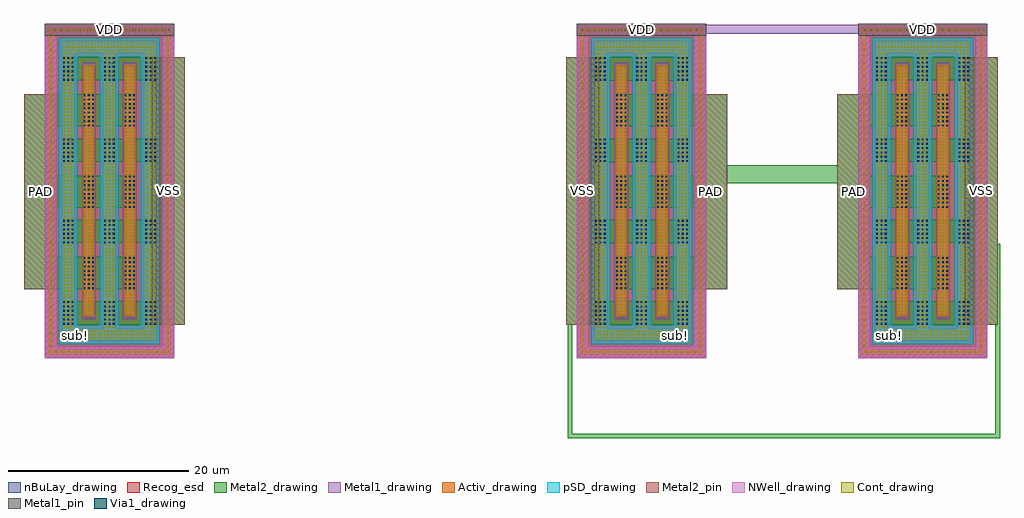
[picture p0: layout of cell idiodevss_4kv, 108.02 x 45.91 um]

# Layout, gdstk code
import gdstk
lib = gdstk.Library(unit=1e-6, precision=1e-09)
def R(c, l, rs):  # rectangles x0, y0, x1, y1
    for r in rs: c.add(gdstk.rectangle(r[:2], r[2:], *l))
def A(c, l, x, y, w, h, nx, ny, dx, dy):  # array of equal rectangles
    R(c, l, [(x+i*dx, y+j*dy, x+i*dx+w, y+j*dy+h) for i in range(nx) for j in range(ny)])
def P(c, l, *ps):  # polygons
    for p in ps: c.add(gdstk.Polygon(p, *l))
Activ_drawing = (1, 0)
Cont_drawing = (6, 0)
Metal1_drawing = (8, 0)
Metal1_pin = (8, 2)
Metal2_drawing = (10, 0)
Metal2_pin = (10, 2)
pSD_drawing = (14, 0)
Via1_drawing = (19, 0)
NWell_drawing = (31, 0)
nBuLay_drawing = (32, 0)
Recog_esd = (99, 30)

idiodevss_4kv = lib.new_cell('idiodevss_4kv')
R(idiodevss_4kv, Activ_drawing, [(4.23,4.65,5.49,32.43), (8.76,4.65,10.02,32.43), (63.167,4.65,64.427,32.43), (67.697,4.65,68.957,32.43), (94.23,4.65,95.49,32.43), (98.76,4.65,100.02,32.43)])
P(idiodevss_4kv, Activ_drawing, [(60.877,1.98),(60.877,35.07),(71.207,35.07),(71.207,3.24),(69.947,3.24),(69.947,33.81),(66.677,33.81),(66.677,3.24),(65.417,3.24),(65.417,33.81),(62.137,33.81),(62.137,3.24),(71.207,3.24),(71.207,1.98)],
  [(59.287,0.45),(59.287,36.6),(72.767,36.6),(72.767,0.93),(72.287,0.93),(72.287,36.12),(59.767,36.12),(59.767,0.93),(72.767,0.93),(72.767,0.45)],
  [(91.98,1.98),(91.98,3.24),(101.05,3.24),(101.05,33.81),(97.77,33.81),(97.77,3.24),(96.51,3.24),(96.51,33.81),(93.24,33.81),(93.24,3.24),(91.98,3.24),(91.98,35.07),(102.31,35.07),(102.31,1.98)],
  [(90.42,0.45),(90.42,0.93),(103.42,0.93),(103.42,36.12),(90.9,36.12),(90.9,0.93),(90.42,0.93),(90.42,36.6),(103.9,36.6),(103.9,0.45)],
  [(1.98,1.98),(1.98,3.24),(11.05,3.24),(11.05,33.81),(7.77,33.81),(7.77,3.24),(6.51,3.24),(6.51,33.81),(3.24,33.81),(3.24,3.24),(1.98,3.24),(1.98,35.07),(12.31,35.07),(12.31,1.98)],
  [(0.42,0.45),(0.42,0.93),(13.42,0.93),(13.42,36.12),(0.9,36.12),(0.9,0.93),(0.42,0.93),(0.42,36.6),(13.9,36.6),(13.9,0.45)])
A(idiodevss_4kv, Cont_drawing, 0.62, 0.61, 0.16, 0.16, 37, 2, 0.36, 35.67)
A(idiodevss_4kv, Cont_drawing, 59.447, 0.61, 0.16, 0.16, 37, 2, 0.36, 35.67)
A(idiodevss_4kv, Cont_drawing, 90.62, 0.61, 0.16, 0.16, 37, 2, 0.36, 35.67)
A(idiodevss_4kv, Cont_drawing, 0.58, 1.105, 0.16, 0.16, 1, 97, 0, 0.36)
A(idiodevss_4kv, Cont_drawing, 13.54, 1.105, 0.16, 0.16, 1, 97, 0, 0.36)
A(idiodevss_4kv, Cont_drawing, 59.487, 1.105, 0.16, 0.16, 1, 97, 0, 0.36)
A(idiodevss_4kv, Cont_drawing, 72.447, 1.105, 0.16, 0.16, 1, 97, 0, 0.36)
A(idiodevss_4kv, Cont_drawing, 90.58, 1.105, 0.16, 0.16, 1, 97, 0, 0.36)
A(idiodevss_4kv, Cont_drawing, 103.54, 1.105, 0.16, 0.16, 1, 97, 0, 0.36)
A(idiodevss_4kv, Cont_drawing, 2.235, 2.19, 0.16, 0.16, 28, 3, 0.36, 0.36)
A(idiodevss_4kv, Cont_drawing, 61.072, 2.19, 0.16, 0.16, 28, 3, 0.36, 0.36)
A(idiodevss_4kv, Cont_drawing, 92.235, 2.19, 0.16, 0.16, 28, 3, 0.36, 0.36)
A(idiodevss_4kv, Cont_drawing, 2.165, 3.405, 0.16, 0.16, 3, 85, 0.36, 0.36)
A(idiodevss_4kv, Cont_drawing, 6.725, 3.405, 0.16, 0.16, 3, 85, 0.36, 0.36)
A(idiodevss_4kv, Cont_drawing, 11.285, 3.405, 0.16, 0.16, 3, 85, 0.36, 0.36)
A(idiodevss_4kv, Cont_drawing, 61.022, 3.405, 0.16, 0.16, 3, 85, 0.36, 0.36)
A(idiodevss_4kv, Cont_drawing, 65.582, 3.405, 0.16, 0.16, 3, 85, 0.36, 0.36)
A(idiodevss_4kv, Cont_drawing, 70.142, 3.405, 0.16, 0.16, 3, 85, 0.36, 0.36)
A(idiodevss_4kv, Cont_drawing, 92.165, 3.405, 0.16, 0.16, 3, 85, 0.36, 0.36)
A(idiodevss_4kv, Cont_drawing, 96.725, 3.405, 0.16, 0.16, 3, 85, 0.36, 0.36)
A(idiodevss_4kv, Cont_drawing, 101.285, 3.405, 0.16, 0.16, 3, 85, 0.36, 0.36)
A(idiodevss_4kv, Cont_drawing, 4.44, 4.81, 0.16, 0.16, 3, 77, 0.36, 0.36)
A(idiodevss_4kv, Cont_drawing, 8.97, 4.81, 0.16, 0.16, 3, 77, 0.36, 0.36)
A(idiodevss_4kv, Cont_drawing, 63.337, 4.81, 0.16, 0.16, 3, 77, 0.36, 0.36)
A(idiodevss_4kv, Cont_drawing, 67.867, 4.81, 0.16, 0.16, 3, 77, 0.36, 0.36)
A(idiodevss_4kv, Cont_drawing, 94.44, 4.81, 0.16, 0.16, 3, 77, 0.36, 0.36)
A(idiodevss_4kv, Cont_drawing, 98.97, 4.81, 0.16, 0.16, 3, 77, 0.36, 0.36)
A(idiodevss_4kv, Cont_drawing, 2.235, 34.02, 0.16, 0.16, 28, 3, 0.36, 0.36)
A(idiodevss_4kv, Cont_drawing, 61.072, 34.02, 0.16, 0.16, 28, 3, 0.36, 0.36)
A(idiodevss_4kv, Cont_drawing, 92.235, 34.02, 0.16, 0.16, 28, 3, 0.36, 0.36)
R(idiodevss_4kv, Metal1_drawing, [(4.11,4.35,5.64,32.7), (8.64,4.35,10.17,32.7), (63.017,4.35,64.547,32.7), (67.547,4.35,69.077,32.7), (94.11,4.35,95.64,32.7), (98.64,4.35,100.17,32.7)])
P(idiodevss_4kv, Metal1_drawing, [(60.727,1.89),(60.727,35.16),(71.357,35.16),(71.357,3.3),(69.827,3.3),(69.827,33.75),(66.827,33.75),(66.827,3.3),(65.267,3.3),(65.267,33.75),(62.287,33.75),(62.287,3.3),(71.357,3.3),(71.357,1.89)],
  [(58.867,0),(58.867,37.05),(73.187,37.05),(73.187,1.35),(71.837,1.35),(71.837,35.7),(60.187,35.7),(60.187,1.35),(73.187,1.35),(73.187,0)],
  [(91.83,1.89),(91.83,3.3),(100.9,3.3),(100.9,33.75),(97.92,33.75),(97.92,3.3),(96.36,3.3),(96.36,33.75),(93.36,33.75),(93.36,3.3),(91.83,3.3),(91.83,35.16),(102.46,35.16),(102.46,1.89)],
  [(90,0),(90,1.35),(103,1.35),(103,35.7),(91.35,35.7),(91.35,1.35),(90,1.35),(90,37.05),(104.32,37.05),(104.32,0)],
  [(1.83,1.89),(1.83,3.3),(10.9,3.3),(10.9,33.75),(7.92,33.75),(7.92,3.3),(6.36,3.3),(6.36,33.75),(3.36,33.75),(3.36,3.3),(1.83,3.3),(1.83,35.16),(12.46,35.16),(12.46,1.89)],
  [(0,0),(0,1.35),(13,1.35),(13,35.7),(1.35,35.7),(1.35,1.35),(0,1.35),(0,37.05),(14.32,37.05),(14.32,0)])
R(idiodevss_4kv, Metal1_pin, [(0,35.7,14.32,37.05), (58.867,35.7,73.187,37.05), (90,35.7,104.32,37.05)])
P(idiodevss_4kv, Metal2_drawing, [(57.727,3.72),(57.727,33.33),(70.727,33.33),(70.727,33.325),(71.227,33.325),(71.227,30.725),(70.727,30.725),(70.727,30.72),(61.367,30.72),(61.367,24.33),(70.727,24.33),(70.727,24.325),(71.227,24.325),(71.227,21.725),(70.727,21.725),(70.727,21.72),(61.367,21.72),(61.367,15.33),(70.727,15.33),(70.727,15.325),(71.227,15.325),(71.227,12.725),(70.727,12.725),(70.727,12.72),(61.367,12.72),(61.367,6.33),(70.727,6.33),(70.727,6.325),(71.227,6.325),(71.227,3.725),(70.727,3.725),(70.727,3.72)],
  [(63.172,7.66),(63.172,11.22),(71.892,11.22),(71.892,16.66),(63.172,16.66),(63.172,20.22),(71.892,20.22),(71.892,25.66),(63.172,25.66),(63.172,29.22),(75.497,29.22),(75.497,7.66)],
  [(92.46,3.72),(92.46,3.725),(91.96,3.725),(91.96,6.325),(92.46,6.325),(92.46,6.33),(101.82,6.33),(101.82,12.72),(92.46,12.72),(92.46,12.725),(91.96,12.725),(91.96,15.325),(92.46,15.325),(92.46,15.33),(101.82,15.33),(101.82,21.72),(92.46,21.72),(92.46,21.725),(91.96,21.725),(91.96,24.325),(92.46,24.325),(92.46,24.33),(101.82,24.33),(101.82,30.72),(92.46,30.72),(92.46,30.725),(91.96,30.725),(91.96,33.325),(92.46,33.325),(92.46,33.33),(105.46,33.33),(105.46,3.72)],
  [(87.69,7.66),(87.69,29.22),(100.015,29.22),(100.015,25.66),(91.295,25.66),(91.295,20.22),(100.015,20.22),(100.015,16.66),(91.295,16.66),(91.295,11.22),(100.015,11.22),(100.015,7.66)],
  [(2.46,3.72),(2.46,3.725),(1.96,3.725),(1.96,6.325),(2.46,6.325),(2.46,6.33),(11.82,6.33),(11.82,12.72),(2.46,12.72),(2.46,12.725),(1.96,12.725),(1.96,15.325),(2.46,15.325),(2.46,15.33),(11.82,15.33),(11.82,21.72),(2.46,21.72),(2.46,21.725),(1.96,21.725),(1.96,24.325),(2.46,24.325),(2.46,24.33),(11.82,24.33),(11.82,30.72),(2.46,30.72),(2.46,30.725),(1.96,30.725),(1.96,33.325),(2.46,33.325),(2.46,33.33),(15.46,33.33),(15.46,3.72)],
  [(-2.31,7.66),(-2.31,29.22),(10.015,29.22),(10.015,25.66),(1.295,25.66),(1.295,20.22),(10.015,20.22),(10.015,16.66),(1.295,16.66),(1.295,11.22),(10.015,11.22),(10.015,7.66)])
R(idiodevss_4kv, Metal2_pin, [(11.82,3.72,15.46,33.33), (57.727,3.72,61.367,33.33), (101.82,3.72,105.46,33.33), (-2.31,7.66,1.295,29.22), (71.892,7.66,75.497,29.22), (87.69,7.66,91.295,29.22)])
P(idiodevss_4kv, pSD_drawing, [(60.457,1.56),(60.457,35.49),(71.627,35.49),(71.627,3.66),(69.527,3.66),(69.527,33.39),(67.097,33.39),(67.097,3.66),(64.997,3.66),(64.997,33.39),(62.557,33.39),(62.557,3.66),(71.627,3.66),(71.627,1.56)],
  [(91.56,1.56),(91.56,3.66),(100.63,3.66),(100.63,33.39),(98.19,33.39),(98.19,3.66),(96.09,3.66),(96.09,33.39),(93.66,33.39),(93.66,3.66),(91.56,3.66),(91.56,35.49),(102.73,35.49),(102.73,1.56)],
  [(1.56,1.56),(1.56,3.66),(10.63,3.66),(10.63,33.39),(8.19,33.39),(8.19,3.66),(6.09,3.66),(6.09,33.39),(3.66,33.39),(3.66,3.66),(1.56,3.66),(1.56,35.49),(12.73,35.49),(12.73,1.56)])
A(idiodevss_4kv, Via1_drawing, 2.01, 3.73, 0.19, 0.19, 3, 6, 0.48, 0.48)
A(idiodevss_4kv, Via1_drawing, 6.57, 3.73, 0.19, 0.19, 3, 6, 0.48, 0.48)
A(idiodevss_4kv, Via1_drawing, 11.13, 3.73, 0.19, 0.19, 3, 6, 0.48, 0.48)
A(idiodevss_4kv, Via1_drawing, 60.907, 3.73, 0.19, 0.19, 3, 6, 0.48, 0.48)
A(idiodevss_4kv, Via1_drawing, 65.467, 3.73, 0.19, 0.19, 3, 6, 0.48, 0.48)
A(idiodevss_4kv, Via1_drawing, 70.027, 3.73, 0.19, 0.19, 3, 6, 0.48, 0.48)
A(idiodevss_4kv, Via1_drawing, 92.01, 3.73, 0.19, 0.19, 3, 6, 0.48, 0.48)
A(idiodevss_4kv, Via1_drawing, 96.57, 3.73, 0.19, 0.19, 3, 6, 0.48, 0.48)
A(idiodevss_4kv, Via1_drawing, 101.13, 3.73, 0.19, 0.19, 3, 6, 0.48, 0.48)
A(idiodevss_4kv, Via1_drawing, 4.285, 7.665, 0.19, 0.19, 3, 8, 0.48, 0.48)
A(idiodevss_4kv, Via1_drawing, 8.815, 7.665, 0.19, 0.19, 3, 8, 0.48, 0.48)
A(idiodevss_4kv, Via1_drawing, 63.222, 7.665, 0.19, 0.19, 3, 8, 0.48, 0.48)
A(idiodevss_4kv, Via1_drawing, 67.752, 7.665, 0.19, 0.19, 3, 8, 0.48, 0.48)
A(idiodevss_4kv, Via1_drawing, 94.285, 7.665, 0.19, 0.19, 3, 8, 0.48, 0.48)
A(idiodevss_4kv, Via1_drawing, 98.815, 7.665, 0.19, 0.19, 3, 8, 0.48, 0.48)
A(idiodevss_4kv, Via1_drawing, 2.01, 12.73, 0.19, 0.19, 3, 6, 0.48, 0.48)
A(idiodevss_4kv, Via1_drawing, 6.57, 12.73, 0.19, 0.19, 3, 6, 0.48, 0.48)
A(idiodevss_4kv, Via1_drawing, 11.13, 12.73, 0.19, 0.19, 3, 6, 0.48, 0.48)
A(idiodevss_4kv, Via1_drawing, 60.907, 12.73, 0.19, 0.19, 3, 6, 0.48, 0.48)
A(idiodevss_4kv, Via1_drawing, 65.467, 12.73, 0.19, 0.19, 3, 6, 0.48, 0.48)
A(idiodevss_4kv, Via1_drawing, 70.027, 12.73, 0.19, 0.19, 3, 6, 0.48, 0.48)
A(idiodevss_4kv, Via1_drawing, 92.01, 12.73, 0.19, 0.19, 3, 6, 0.48, 0.48)
A(idiodevss_4kv, Via1_drawing, 96.57, 12.73, 0.19, 0.19, 3, 6, 0.48, 0.48)
A(idiodevss_4kv, Via1_drawing, 101.13, 12.73, 0.19, 0.19, 3, 6, 0.48, 0.48)
A(idiodevss_4kv, Via1_drawing, 4.285, 16.665, 0.19, 0.19, 3, 8, 0.48, 0.48)
A(idiodevss_4kv, Via1_drawing, 8.815, 16.665, 0.19, 0.19, 3, 8, 0.48, 0.48)
A(idiodevss_4kv, Via1_drawing, 63.222, 16.665, 0.19, 0.19, 3, 8, 0.48, 0.48)
A(idiodevss_4kv, Via1_drawing, 67.752, 16.665, 0.19, 0.19, 3, 8, 0.48, 0.48)
A(idiodevss_4kv, Via1_drawing, 94.285, 16.665, 0.19, 0.19, 3, 8, 0.48, 0.48)
A(idiodevss_4kv, Via1_drawing, 98.815, 16.665, 0.19, 0.19, 3, 8, 0.48, 0.48)
A(idiodevss_4kv, Via1_drawing, 2.01, 21.73, 0.19, 0.19, 3, 6, 0.48, 0.48)
A(idiodevss_4kv, Via1_drawing, 6.57, 21.73, 0.19, 0.19, 3, 6, 0.48, 0.48)
A(idiodevss_4kv, Via1_drawing, 11.13, 21.73, 0.19, 0.19, 3, 6, 0.48, 0.48)
A(idiodevss_4kv, Via1_drawing, 60.907, 21.73, 0.19, 0.19, 3, 6, 0.48, 0.48)
A(idiodevss_4kv, Via1_drawing, 65.467, 21.73, 0.19, 0.19, 3, 6, 0.48, 0.48)
A(idiodevss_4kv, Via1_drawing, 70.027, 21.73, 0.19, 0.19, 3, 6, 0.48, 0.48)
A(idiodevss_4kv, Via1_drawing, 92.01, 21.73, 0.19, 0.19, 3, 6, 0.48, 0.48)
A(idiodevss_4kv, Via1_drawing, 96.57, 21.73, 0.19, 0.19, 3, 6, 0.48, 0.48)
A(idiodevss_4kv, Via1_drawing, 101.13, 21.73, 0.19, 0.19, 3, 6, 0.48, 0.48)
A(idiodevss_4kv, Via1_drawing, 4.285, 25.665, 0.19, 0.19, 3, 8, 0.48, 0.48)
A(idiodevss_4kv, Via1_drawing, 8.815, 25.665, 0.19, 0.19, 3, 8, 0.48, 0.48)
A(idiodevss_4kv, Via1_drawing, 63.222, 25.665, 0.19, 0.19, 3, 8, 0.48, 0.48)
A(idiodevss_4kv, Via1_drawing, 67.752, 25.665, 0.19, 0.19, 3, 8, 0.48, 0.48)
A(idiodevss_4kv, Via1_drawing, 94.285, 25.665, 0.19, 0.19, 3, 8, 0.48, 0.48)
A(idiodevss_4kv, Via1_drawing, 98.815, 25.665, 0.19, 0.19, 3, 8, 0.48, 0.48)
A(idiodevss_4kv, Via1_drawing, 2.01, 30.73, 0.19, 0.19, 3, 6, 0.48, 0.48)
A(idiodevss_4kv, Via1_drawing, 6.57, 30.73, 0.19, 0.19, 3, 6, 0.48, 0.48)
A(idiodevss_4kv, Via1_drawing, 11.13, 30.73, 0.19, 0.19, 3, 6, 0.48, 0.48)
A(idiodevss_4kv, Via1_drawing, 60.907, 30.73, 0.19, 0.19, 3, 6, 0.48, 0.48)
A(idiodevss_4kv, Via1_drawing, 65.467, 30.73, 0.19, 0.19, 3, 6, 0.48, 0.48)
A(idiodevss_4kv, Via1_drawing, 70.027, 30.73, 0.19, 0.19, 3, 6, 0.48, 0.48)
A(idiodevss_4kv, Via1_drawing, 92.01, 30.73, 0.19, 0.19, 3, 6, 0.48, 0.48)
A(idiodevss_4kv, Via1_drawing, 96.57, 30.73, 0.19, 0.19, 3, 6, 0.48, 0.48)
A(idiodevss_4kv, Via1_drawing, 101.13, 30.73, 0.19, 0.19, 3, 6, 0.48, 0.48)
P(idiodevss_4kv, NWell_drawing, [(58.867,0),(58.867,37.05),(73.187,37.05),(73.187,1.35),(71.837,1.35),(71.837,35.7),(60.187,35.7),(60.187,1.35),(73.187,1.35),(73.187,0)],
  [(90,0),(90,1.35),(103,1.35),(103,35.7),(91.35,35.7),(91.35,1.35),(90,1.35),(90,37.05),(104.32,37.05),(104.32,0)],
  [(0,0),(0,1.35),(13,1.35),(13,35.7),(1.35,35.7),(1.35,1.35),(0,1.35),(0,37.05),(14.32,37.05),(14.32,0)])
R(idiodevss_4kv, nBuLay_drawing, [(0,0,14.32,37.05), (58.867,0,73.187,37.05), (90,0,104.32,37.05)])
R(idiodevss_4kv, Recog_esd, [(0,0,14.32,37.05), (58.867,0,73.187,37.05), (90,0,104.32,37.05)])
idiodevss_4kv.add(gdstk.FlexPath([(105.46,12.682),(105.46,-8.614),(58.134,-8.614),(58.134,7.668)], 0.5, ends="flush", simple_path=True, layer=10, datatype=0))  # Metal2_drawing
idiodevss_4kv.add(gdstk.FlexPath([(74.693,20.371),(89.163,20.371)], 2, ends="flush", simple_path=True, layer=10, datatype=0))  # Metal2_drawing
idiodevss_4kv.add(gdstk.FlexPath([(69.261,36.44),(93.86,36.44)], 1, ends="flush", simple_path=True, layer=8, datatype=0))  # Metal1_drawing
idiodevss_4kv.add(gdstk.Label('VDD', (66.027,36.375), layer=63, texttype=0))
idiodevss_4kv.add(gdstk.Label('VSS', (59.547,18.525), layer=63, texttype=0))
idiodevss_4kv.add(gdstk.Label('PAD', (73.697,18.442), layer=63, texttype=0))
idiodevss_4kv.add(gdstk.Label('sub!', (69.742,2.495), layer=63, texttype=0))
idiodevss_4kv.add(gdstk.Label('idiodevss_4kv', (62.567,18.25), layer=63, texttype=0))
idiodevss_4kv.add(gdstk.Label('VDD', (97.16,36.375), layer=63, texttype=0))
idiodevss_4kv.add(gdstk.Label('VSS', (103.64,18.525), layer=63, texttype=0))
idiodevss_4kv.add(gdstk.Label('PAD', (89.49,18.442), layer=63, texttype=0))
idiodevss_4kv.add(gdstk.Label('sub!', (93.445,2.495), layer=63, texttype=0))
idiodevss_4kv.add(gdstk.Label('idiodevss_4kv', (100.62,18.25), layer=63, texttype=0))
idiodevss_4kv.add(gdstk.Label('VDD', (7.16,36.375), layer=63, texttype=0))
idiodevss_4kv.add(gdstk.Label('VSS', (13.64,18.525), layer=63, texttype=0))
idiodevss_4kv.add(gdstk.Label('PAD', (-0.51,18.442), layer=63, texttype=0))
idiodevss_4kv.add(gdstk.Label('sub!', (3.445,2.495), layer=63, texttype=0))
idiodevss_4kv.add(gdstk.Label('idiodevss_4kv', (10.62,18.25), layer=63, texttype=0))

lib.write_gds('idiodevss_4kv.gds')
